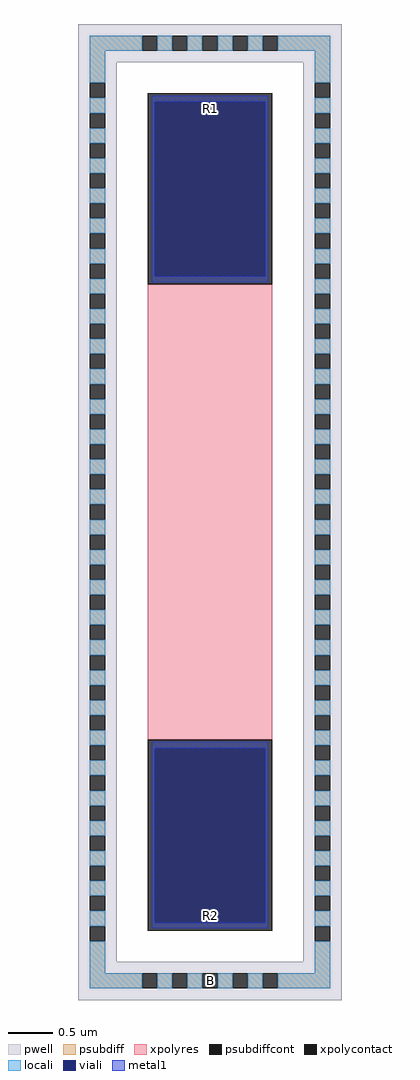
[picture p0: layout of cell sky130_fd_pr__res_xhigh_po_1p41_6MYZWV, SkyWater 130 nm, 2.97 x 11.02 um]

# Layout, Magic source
magic
tech sky130A
magscale 1 2
<< pwell >>
rect -297 1016 297 1102
rect -297 -1016 -211 1016
rect 211 -1016 297 1016
rect -297 -1102 297 -1016
<< psubdiff >>
rect -271 1042 -153 1076
rect -119 1042 -85 1076
rect -51 1042 -17 1076
rect 17 1042 51 1076
rect 85 1042 119 1076
rect 153 1042 271 1076
rect -271 969 -237 1042
rect 237 969 271 1042
rect -271 901 -237 935
rect -271 833 -237 867
rect -271 765 -237 799
rect -271 697 -237 731
rect -271 629 -237 663
rect -271 561 -237 595
rect -271 493 -237 527
rect -271 425 -237 459
rect -271 357 -237 391
rect -271 289 -237 323
rect -271 221 -237 255
rect -271 153 -237 187
rect -271 85 -237 119
rect -271 17 -237 51
rect -271 -51 -237 -17
rect -271 -119 -237 -85
rect -271 -187 -237 -153
rect -271 -255 -237 -221
rect -271 -323 -237 -289
rect -271 -391 -237 -357
rect -271 -459 -237 -425
rect -271 -527 -237 -493
rect -271 -595 -237 -561
rect -271 -663 -237 -629
rect -271 -731 -237 -697
rect -271 -799 -237 -765
rect -271 -867 -237 -833
rect -271 -935 -237 -901
rect 237 901 271 935
rect 237 833 271 867
rect 237 765 271 799
rect 237 697 271 731
rect 237 629 271 663
rect 237 561 271 595
rect 237 493 271 527
rect 237 425 271 459
rect 237 357 271 391
rect 237 289 271 323
rect 237 221 271 255
rect 237 153 271 187
rect 237 85 271 119
rect 237 17 271 51
rect 237 -51 271 -17
rect 237 -119 271 -85
rect 237 -187 271 -153
rect 237 -255 271 -221
rect 237 -323 271 -289
rect 237 -391 271 -357
rect 237 -459 271 -425
rect 237 -527 271 -493
rect 237 -595 271 -561
rect 237 -663 271 -629
rect 237 -731 271 -697
rect 237 -799 271 -765
rect 237 -867 271 -833
rect 237 -935 271 -901
rect -271 -1042 -237 -969
rect 237 -1042 271 -969
rect -271 -1076 -153 -1042
rect -119 -1076 -85 -1042
rect -51 -1076 -17 -1042
rect 17 -1076 51 -1042
rect 85 -1076 119 -1042
rect 153 -1076 271 -1042
<< psubdiffcont >>
rect -153 1042 -119 1076
rect -85 1042 -51 1076
rect -17 1042 17 1076
rect 51 1042 85 1076
rect 119 1042 153 1076
rect -271 935 -237 969
rect -271 867 -237 901
rect -271 799 -237 833
rect -271 731 -237 765
rect -271 663 -237 697
rect -271 595 -237 629
rect -271 527 -237 561
rect -271 459 -237 493
rect -271 391 -237 425
rect -271 323 -237 357
rect -271 255 -237 289
rect -271 187 -237 221
rect -271 119 -237 153
rect -271 51 -237 85
rect -271 -17 -237 17
rect -271 -85 -237 -51
rect -271 -153 -237 -119
rect -271 -221 -237 -187
rect -271 -289 -237 -255
rect -271 -357 -237 -323
rect -271 -425 -237 -391
rect -271 -493 -237 -459
rect -271 -561 -237 -527
rect -271 -629 -237 -595
rect -271 -697 -237 -663
rect -271 -765 -237 -731
rect -271 -833 -237 -799
rect -271 -901 -237 -867
rect -271 -969 -237 -935
rect 237 935 271 969
rect 237 867 271 901
rect 237 799 271 833
rect 237 731 271 765
rect 237 663 271 697
rect 237 595 271 629
rect 237 527 271 561
rect 237 459 271 493
rect 237 391 271 425
rect 237 323 271 357
rect 237 255 271 289
rect 237 187 271 221
rect 237 119 271 153
rect 237 51 271 85
rect 237 -17 271 17
rect 237 -85 271 -51
rect 237 -153 271 -119
rect 237 -221 271 -187
rect 237 -289 271 -255
rect 237 -357 271 -323
rect 237 -425 271 -391
rect 237 -493 271 -459
rect 237 -561 271 -527
rect 237 -629 271 -595
rect 237 -697 271 -663
rect 237 -765 271 -731
rect 237 -833 271 -799
rect 237 -901 271 -867
rect 237 -969 271 -935
rect -153 -1076 -119 -1042
rect -85 -1076 -51 -1042
rect -17 -1076 17 -1042
rect 51 -1076 85 -1042
rect 119 -1076 153 -1042
<< xpolycontact >>
rect -141 514 141 946
rect -141 -946 141 -514
<< xpolyres >>
rect -141 -514 141 514
<< locali >>
rect -271 1042 -153 1076
rect -119 1042 -85 1076
rect -51 1042 -17 1076
rect 17 1042 51 1076
rect 85 1042 119 1076
rect 153 1042 271 1076
rect -271 969 -237 1042
rect 237 969 271 1042
rect -271 901 -237 935
rect -271 833 -237 867
rect -271 765 -237 799
rect -271 697 -237 731
rect -271 629 -237 663
rect -271 561 -237 595
rect -271 493 -237 527
rect 237 901 271 935
rect 237 833 271 867
rect 237 765 271 799
rect 237 697 271 731
rect 237 629 271 663
rect 237 561 271 595
rect -271 425 -237 459
rect -271 357 -237 391
rect -271 289 -237 323
rect -271 221 -237 255
rect -271 153 -237 187
rect -271 85 -237 119
rect -271 17 -237 51
rect -271 -51 -237 -17
rect -271 -119 -237 -85
rect -271 -187 -237 -153
rect -271 -255 -237 -221
rect -271 -323 -237 -289
rect -271 -391 -237 -357
rect -271 -459 -237 -425
rect -271 -527 -237 -493
rect 237 493 271 527
rect 237 425 271 459
rect 237 357 271 391
rect 237 289 271 323
rect 237 221 271 255
rect 237 153 271 187
rect 237 85 271 119
rect 237 17 271 51
rect 237 -51 271 -17
rect 237 -119 271 -85
rect 237 -187 271 -153
rect 237 -255 271 -221
rect 237 -323 271 -289
rect 237 -391 271 -357
rect 237 -459 271 -425
rect -271 -595 -237 -561
rect -271 -663 -237 -629
rect -271 -731 -237 -697
rect -271 -799 -237 -765
rect -271 -867 -237 -833
rect -271 -935 -237 -901
rect 237 -527 271 -493
rect 237 -595 271 -561
rect 237 -663 271 -629
rect 237 -731 271 -697
rect 237 -799 271 -765
rect 237 -867 271 -833
rect 237 -935 271 -901
rect -271 -1042 -237 -969
rect 237 -1042 271 -969
rect -271 -1076 -153 -1042
rect -119 -1076 -85 -1042
rect -51 -1076 -17 -1042
rect 17 -1076 51 -1042
rect 85 -1076 119 -1042
rect 153 -1076 271 -1042
<< viali >>
rect -125 532 125 926
rect -125 -927 125 -533
<< metal1 >>
rect -131 926 131 940
rect -131 532 -125 926
rect 125 532 131 926
rect -131 519 131 532
rect -131 -533 131 -519
rect -131 -927 -125 -533
rect 125 -927 131 -533
rect -131 -940 131 -927
<< labels >>
rlabel locali s 0 -1059 0 -1059 4 B
rlabel locali s 0 911 0 911 4 R1
rlabel locali s 0 -911 0 -911 4 R2
<< properties >>
string FIXED_BBOX -254 -1059 254 1059
<< end >>
